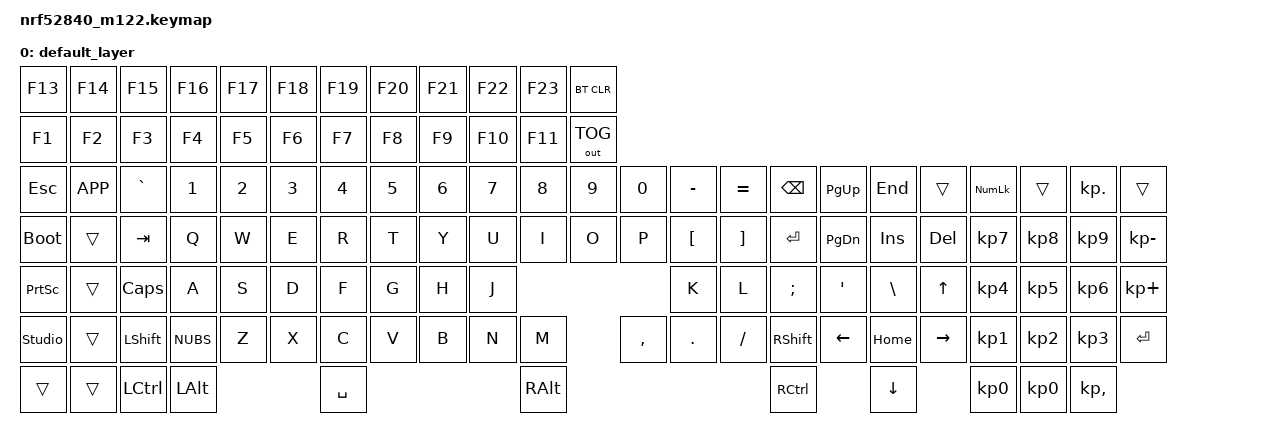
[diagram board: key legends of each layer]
/*
* Copyright (c) 2023 The ZMK Contributers
* SPDX-Licencse-Identifier: MIT
*/

#include <behaviors.dtsi>
#include <dt-bindings/zmk/keys.h>
#include <dt-bindings/zmk/bt.h>
#include <dt-bindings/zmk/outputs.h>

/ {
    keymap {
        compatible = "zmk,keymap";

        default_layer {
//                     -------------------------------------------------------------------------
//                     | F13 | F14 | F15 | F16 | F17 | F18 | F19 | F20 | F21 | F22 | F23 | F24 |
//                     | F1  | F2  | F3  | F4  | F5  | F6  | F7  | F8  | F9  | F10 | F11 | F12 |
// ------------- ------------------------------------------------------------------------------------------ ------------------- -------------------------
// | ESC | xxx | | ESC |  1  |  2  |  3  |  4  |  5  |  6  |  7  |  8  |  9  |  0  |  -  |  =  |   BKSP   | | |<- | Dup | xxx | | xxx | xxx |  .  | xxx |
// |     |     | | TAB  |  Q  |  W  |  E  |  R  |  T  |  Y  |  U  |  I  |  O  |  P  |  [  |  ]  | ENTER   | | xxx | Ins | Del | |  7  |  8  |  9  |  -  |
// | Dr  | Hlf | | CAPS   |  A  |  S  |  D  |  F  |  G  |  H  |  J  |  K  |  L  |  ;  |  '  |             |       | Up  |       |  4  |  5  |  6  | xxx |
// |     | Wdg | | SHIFT |  <  |  Z  |  X  |  C  |  V  |  B  |  N  |  M  |  ,  |  .  |  /  |      SHIFT   | | lft | Hom | rgh | |  1  |  2  |  3  |  +  |
// | Def | Auf | |  Grdst  |   ALT  |                   SPACE                   |  ALT  |  DatenFreigabe  |       | Dwn |       |     0     |  ,  |     |
// ------------- ------------------------------------------------------------------------------------------       -------       -------------------------
            bindings = <
            &kp F13 &kp F14 &kp F15 &kp F16 &kp F17 &kp F18 &kp F19 &kp F20 &kp F21 &kp F22 &kp F23 &bt BT_CLR
            &kp F1  &kp F2  &kp F3  &kp F4  &kp F5  &kp F6  &kp F7  &kp F8  &kp F9  &kp F10 &kp F11 &out OUT_TOG
            &kp ESC        &kp K_APP &kp GRAVE &kp N1 &kp N2 &kp N3 &kp N4 &kp N5 &kp N6 &kp N7 &kp N8 &kp N9 &kp N0 &kp MINUS &kp EQUAL &kp BSPC   &kp PG_UP &kp END &trans     &kp KP_NUM &trans    &kp KP_DOT &trans
            &bootloader    &trans    &kp TAB  &kp Q  &kp W  &kp E  &kp R  &kp T  &kp Y  &kp U  &kp I  &kp O  &kp P  &kp LBKT  &kp RBKT   &kp RET    &kp PG_DN &kp INS  &kp DEL   &kp KP_N7  &kp KP_N8 &kp KP_N9  &kp KP_MINUS
            &kp PSCRN      &trans    &kp CLCK  &kp A  &kp S  &kp D  &kp F  &kp G  &kp H  &kp J  &kp K  &kp L  &kp SEMI &kp SQT  &kp BSLH                      &kp UP             &kp KP_N4  &kp KP_N5 &kp KP_N6  &kp KP_PLUS
            &studio_unlock &trans    &kp LSHFT &kp NUBS &kp Z  &kp X  &kp C  &kp V  &kp B  &kp N  &kp M  &kp COMMA &kp DOT &kp FSLH     &kp RSHFT   &kp LEFT  &kp HOME &kp RIGHT &kp KP_N1  &kp KP_N2 &kp KP_N3  &kp RET
            &trans         &trans    &kp LCTRL &kp LALT             &kp SPACE                     &kp RALT                              &kp RCTRL             &kp DOWN           &kp KP_N0  &kp KP_N0 &kp KP_COMMA
               >;
        };

        extra_1 {
            status = "reserved";
        };
        extra_2 {
            status = "reserved";
        };
    };
};
